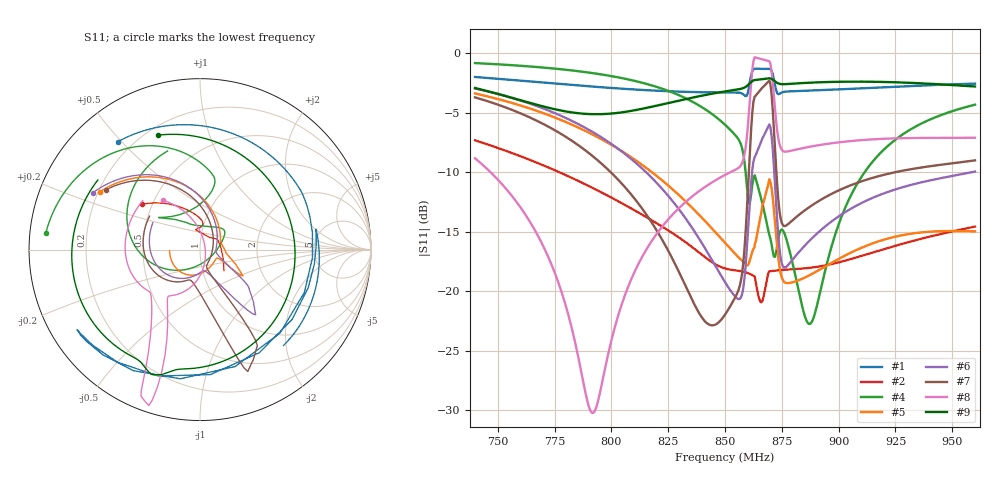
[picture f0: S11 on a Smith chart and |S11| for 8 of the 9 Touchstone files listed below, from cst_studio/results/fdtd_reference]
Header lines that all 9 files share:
! Reference plane: /BR_Q (includes C_M1=3.6p, L_M1=8.2n||C_MZ=0.5p, C_M2=4.3p elliptic Pi-filter)
# GHz S RI R 50.0
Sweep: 740 MHz to 960 MHz
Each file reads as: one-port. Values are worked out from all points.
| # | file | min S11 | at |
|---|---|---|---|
| 1 | 01_bare_pcb_fdtd_ref.s1p | -3.6 dB | 859 MHz |
| 2 | 02_dry_air_fdtd_ref.s1p | -20.9 dB | 866 MHz |
| 3 | 03_enclosed_lipo_fdtd_ref.s1p | -20.9 dB | 866 MHz |
| 4 | 04_fr4_low_4p2_fdtd_ref.s1p | -22.8 dB | 887 MHz |
| 5 | 05_fr4_high_4p6_fdtd_ref.s1p | -19.3 dB | 877.5 MHz |
| 6 | 06_oil_ptfe_fdtd_ref.s1p | -20.7 dB | 856 MHz |
| 7 | 07_glaze_ice_fdtd_ref.s1p | -22.9 dB | 844.5 MHz |
| 8 | 08_alumina_al2o3_fdtd_ref.s1p | -30.2 dB | 792 MHz |
| 9 | 09_ipa_debye_fdtd_ref.s1p | -5.1 dB | 793.5 MHz |
